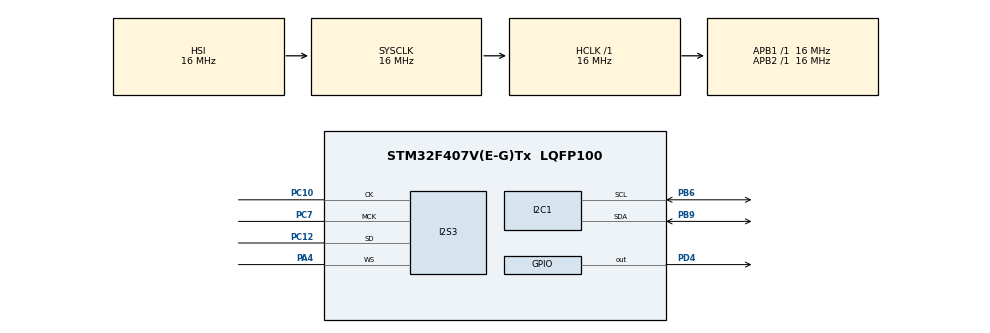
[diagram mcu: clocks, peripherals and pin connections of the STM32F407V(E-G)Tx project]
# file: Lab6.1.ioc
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Dma.Request0=SPI3_TX
Dma.SPI3_TX.0.Direction=DMA_MEMORY_TO_PERIPH
Dma.SPI3_TX.0.FIFOMode=DMA_FIFOMODE_ENABLE
Dma.SPI3_TX.0.FIFOThreshold=DMA_FIFO_THRESHOLD_FULL
Dma.SPI3_TX.0.Instance=DMA1_Stream5
Dma.SPI3_TX.0.MemBurst=DMA_MBURST_SINGLE
Dma.SPI3_TX.0.MemDataAlignment=DMA_MDATAALIGN_HALFWORD
Dma.SPI3_TX.0.MemInc=DMA_MINC_ENABLE
Dma.SPI3_TX.0.Mode=DMA_CIRCULAR
Dma.SPI3_TX.0.PeriphBurst=DMA_PBURST_SINGLE
Dma.SPI3_TX.0.PeriphDataAlignment=DMA_PDATAALIGN_HALFWORD
Dma.SPI3_TX.0.PeriphInc=DMA_PINC_DISABLE
Dma.SPI3_TX.0.Priority=DMA_PRIORITY_LOW
I2S3.AudioFreq=I2S_AUDIOFREQ_48K
I2S3.ErrorAudioFreq=-2.34 %
I2S3.FullDuplexMode=I2S_FULLDUPLEXMODE_DISABLE
I2S3.Instance=SPI$Index
I2S3.RealAudioFreq=46.875 KHz
I2S3.VirtualMode=I2S_MODE_MASTER
Mcu.Family=STM32F4
Mcu.Name=STM32F407V(E-G)Tx
Mcu.Package=LQFP100
NVIC.DMA1_Stream5_IRQn=true\:0\:0\:false\:false\:true\:false\:true\:true
NVIC.PriorityGroup=NVIC_PRIORITYGROUP_4
PA4.Mode=Half_Duplex_Master
PA4.Signal=I2S3_WS
PB6.Mode=I2C
PB6.Signal=I2C1_SCL
PB9.Mode=I2C
PB9.Signal=I2C1_SDA
PC10.Mode=Half_Duplex_Master
PC10.Signal=I2S3_CK
PC12.Mode=Half_Duplex_Master
PC12.Signal=I2S3_SD
PC7.Mode=Master_Clock_Activated
PC7.Signal=I2S3_MCK
PD4.Signal=GPIO_Output
ProjectManager.HeapSize=0x200
ProjectManager.StackSize=0x400
ProjectManager.TargetToolchain=STM32CubeIDE
RCC.AHBFreq_Value=16000000
RCC.APB1Freq_Value=16000000
RCC.APB2Freq_Value=16000000
RCC.CortexFreq_Value=16000000
RCC.HSE_VALUE=25000000
RCC.HSI_VALUE=16000000
RCC.LSE_VALUE=32768
RCC.SYSCLKFreq_VALUE=16000000
RCC.VCOOutputFreq_Value=192000000
board=custom

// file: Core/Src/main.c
/* USER CODE BEGIN Header */
/**
  ******************************************************************************
  * @file           : main.c
  * @brief          : Main program body
  ******************************************************************************
  * @attention
  *
  * Copyright (c) 2023 STMicroelectronics.
  * All rights reserved.
  *
  * This software is licensed under terms that can be found in the LICENSE file
  * in the root directory of this software component.
  * If no LICENSE file comes with this software, it is provided AS-IS.
  *
  ******************************************************************************
  */
/* USER CODE END Header */
#include "main.h"

/* USER CODE BEGIN PTD */

typedef enum
{
	A4, D4, D5, C5, E5, F5, Fcs5, G5, A5, B5,
	C6, D6, E6, F6, G6, A6,
	MAX_VALUE
} soundToneType;

/* USER CODE END PTD */

/* USER CODE BEGIN PD */

#define CS43L22_I2C_ADDRESS		0x94
#define I2C_TIMEOUT				10

/* USER CODE END PD */

I2C_HandleTypeDef hi2c1;

I2S_HandleTypeDef hi2s3;
DMA_HandleTypeDef hdma_spi3_tx;

/* USER CODE BEGIN PV */

int16_t dataI2S[100] = {0};

/* USER CODE END PV */

void SystemClock_Config(void);
static void MX_GPIO_Init(void);
static void MX_DMA_Init(void);
static void MX_I2C1_Init(void);
static void MX_I2S3_Init(void);

/* USER CODE BEGIN 0 */

void CS43L22_Init(void)
{
	// Enable chip
	HAL_GPIO_WritePin(GPIOD, GPIO_PIN_4, GPIO_PIN_SET);

	//
	// Initialization
	//
	uint8_t TxBuffer[2];

	TxBuffer[0] = 0x0D;
	TxBuffer[1] = 0x01;
	HAL_I2C_Master_Transmit(&hi2c1, CS43L22_I2C_ADDRESS, (uint8_t*) &TxBuffer, 2, I2C_TIMEOUT);

	TxBuffer[0] = 0x00;
	TxBuffer[1] = 0x99;
	HAL_I2C_Master_Transmit(&hi2c1, CS43L22_I2C_ADDRESS, (uint8_t*) &TxBuffer, 2, I2C_TIMEOUT);

	TxBuffer[0] = 0x47;
	TxBuffer[1] = 0x80;
	HAL_I2C_Master_Transmit(&hi2c1, CS43L22_I2C_ADDRESS, (uint8_t*) &TxBuffer, 2, I2C_TIMEOUT);

	TxBuffer[0] = 0x32;
	TxBuffer[1] = 0xFF;
	HAL_I2C_Master_Transmit(&hi2c1, CS43L22_I2C_ADDRESS, (uint8_t*) &TxBuffer, 2, I2C_TIMEOUT);

	TxBuffer[0] = 0x32;
	TxBuffer[1] = 0x7F;
	HAL_I2C_Master_Transmit(&hi2c1, CS43L22_I2C_ADDRESS, (uint8_t*) &TxBuffer, 2, I2C_TIMEOUT);

	TxBuffer[0] = 0x00;
	TxBuffer[1] = 0x00;
	HAL_I2C_Master_Transmit(&hi2c1, CS43L22_I2C_ADDRESS, (uint8_t*) &TxBuffer, 2, I2C_TIMEOUT);

	TxBuffer[0] = 0x04;
	TxBuffer[1] = 0xAF;
	HAL_I2C_Master_Transmit(&hi2c1, CS43L22_I2C_ADDRESS, (uint8_t*) &TxBuffer, 2, I2C_TIMEOUT);

	TxBuffer[0] = 0x0D;
	TxBuffer[1] = 0x70;
	HAL_I2C_Master_Transmit(&hi2c1, CS43L22_I2C_ADDRESS, (uint8_t*) &TxBuffer, 2, I2C_TIMEOUT);

	TxBuffer[0] = 0x05;
	TxBuffer[1] = 0x81;
	HAL_I2C_Master_Transmit(&hi2c1, CS43L22_I2C_ADDRESS, (uint8_t*) &TxBuffer, 2, I2C_TIMEOUT);

	TxBuffer[0] = 0x06;
	TxBuffer[1] = 0x07;
	HAL_I2C_Master_Transmit(&hi2c1, CS43L22_I2C_ADDRESS, (uint8_t*) &TxBuffer, 2, I2C_TIMEOUT);

	TxBuffer[0] = 0x0A;
	TxBuffer[1] = 0x00;
	HAL_I2C_Master_Transmit(&hi2c1, CS43L22_I2C_ADDRESS, (uint8_t*) &TxBuffer, 2, I2C_TIMEOUT);

	TxBuffer[0] = 0x27;
	TxBuffer[1] = 0x00;
	HAL_I2C_Master_Transmit(&hi2c1, CS43L22_I2C_ADDRESS, (uint8_t*) &TxBuffer, 2, I2C_TIMEOUT);

	TxBuffer[0] = 0x1A;
	TxBuffer[1] = 0x0A;
	HAL_I2C_Master_Transmit(&hi2c1, CS43L22_I2C_ADDRESS, (uint8_t*) &TxBuffer, 2, I2C_TIMEOUT);

	TxBuffer[0] = 0x1B;
	TxBuffer[1] = 0x0A;
	HAL_I2C_Master_Transmit(&hi2c1, CS43L22_I2C_ADDRESS, (uint8_t*) &TxBuffer, 2, I2C_TIMEOUT);

	TxBuffer[0] = 0x1F;
	TxBuffer[1] = 0x0F;
	HAL_I2C_Master_Transmit(&hi2c1, CS43L22_I2C_ADDRESS, (uint8_t*) &TxBuffer, 2, I2C_TIMEOUT);

	TxBuffer[0] = 0x02;
	TxBuffer[1] = 0x9E;
	HAL_I2C_Master_Transmit(&hi2c1, CS43L22_I2C_ADDRESS, (uint8_t*) &TxBuffer, 2, I2C_TIMEOUT);
}

void CS43L22_Beep(soundToneType pitch, uint32_t duration_ms)
{
	uint8_t TxBuffer[2];

	// Set volume and off time
	TxBuffer[0] = 0x1D;		// Register address
	TxBuffer[1] = 0x00;		// Value (volume and off time)
	HAL_I2C_Master_Transmit(&hi2c1, CS43L22_I2C_ADDRESS, (uint8_t*) &TxBuffer, 2, I2C_TIMEOUT);

	// Set sound frequency

	TxBuffer[0] = 0x1C;		// Register address
	switch (pitch)
	{

	        case A4:
				TxBuffer[1] = 0x11;		// Value (frequency and on time)
				break;
			case D4:
				TxBuffer[1] = 0x22;		// Value (frequency and on time)
				break;
			case C5:
				TxBuffer[1] = 0x33;		// Value (frequency and on time)
				break;
			case D5:
				TxBuffer[1] = 0x42;		// Value (frequency and on time)
				break;
			case E5:
				TxBuffer[1] = 0x45;		// Value (frequency and on time)
				break;
			case F5:
				TxBuffer[1] = 0x55;		// Value (frequency and on time)
				break;
			case Fcs5:
				TxBuffer[1] = 0x58;		// Value (frequency and on time)
				break;
			case G5:
				TxBuffer[1] = 0x65;		// Value (frequency and on time)
				break;
			case A5:
				TxBuffer[1] = 0x73;		// Value (frequency and on time)
				break;
			case B5:
				TxBuffer[1] = 0x81;		// Value (frequency and on time)
				break;
			case C6:
				TxBuffer[1] = 0x93;		// Value (frequency and on time)
				break;
			case D6:
				TxBuffer[1] = 0x99;		// Value (frequency and on time)
				break;
			case E6:
				TxBuffer[1] = 0xAA;		// Value (frequency and on time)
				break;
			case F6:
				TxBuffer[1] = 0xBB;		// Value (frequency and on time)
				break;
			case G6:
				TxBuffer[1] = 0xCC;		// Value (frequency and on time)
				break;
			case A6:
				TxBuffer[1] = 0xDD;		// Value (frequency and on time)
				break;
		case MAX_VALUE:
		default:
			TxBuffer[1] = 0x00;		// Value (frequency and on time)
			break;
	}
	HAL_I2C_Master_Transmit(&hi2c1, CS43L22_I2C_ADDRESS, (uint8_t*) &TxBuffer, 2, I2C_TIMEOUT);

	// Enable continuous mode (SOUND STARTED)
	TxBuffer[0] = 0x1E;		// Register address
	TxBuffer[1] = 0xC0;		// Value (beep and tone configuration)
	HAL_I2C_Master_Transmit(&hi2c1, CS43L22_I2C_ADDRESS, (uint8_t*) &TxBuffer, 2, I2C_TIMEOUT);

	// Playing...
	HAL_Delay(duration_ms);

	// Disable continuous mode (SOUND STOPED)
	TxBuffer[0] = 0x1E;		// Register address
	TxBuffer[1] = 0x00;		// Value (beep and tone configuration)
	HAL_I2C_Master_Transmit(&hi2c1, CS43L22_I2C_ADDRESS, (uint8_t*) &TxBuffer, 2, I2C_TIMEOUT);
}

/* USER CODE END 0 */

int main(void)
{

  /* MCU Configuration--------------------------------------------------------*/

  /* Reset of all peripherals, Initializes the Flash interface and the Systick. */
  HAL_Init();

  /* Configure the system clock */
  SystemClock_Config();

  /* Initialize all configured peripherals */
  MX_GPIO_Init();
  MX_DMA_Init();
  MX_I2C1_Init();
  MX_I2S3_Init();
  /* USER CODE BEGIN 2 */

  // Init DAC
  CS43L22_Init();

  // Transmit empty data
  HAL_I2S_Transmit_DMA(&hi2s3, (uint16_t *)dataI2S, 100);

  /* USER CODE END 2 */

  /* Infinite loop */
  /* USER CODE BEGIN WHILE */

  while (1)
  {

	CS43L22_Beep(A4, 200);
	CS43L22_Beep(C5, 200);
	CS43L22_Beep(D4, 200);
	CS43L22_Beep(G5, 400);
	CS43L22_Beep(Fcs5, 200);
	CS43L22_Beep(E5, 400);
	CS43L22_Beep(D5, 200);
	CS43L22_Beep(A5, 100);
	CS43L22_Beep(A6, 200);
	HAL_Delay(100);
	CS43L22_Beep(A4, 200);
	CS43L22_Beep(F6, 200);
	CS43L22_Beep(D4, 200);
	CS43L22_Beep(G6, 400);

	CS43L22_Beep(F5, 250);
	CS43L22_Beep(B5, 150);
	CS43L22_Beep(D4, 250);
	CS43L22_Beep(A5, 200);
	CS43L22_Beep(Fcs5, 200);
	CS43L22_Beep(E5, 200);
	CS43L22_Beep(D4, 400);
	CS43L22_Beep(A4, 200);
	CS43L22_Beep(E6, 400);
	CS43L22_Beep(C6, 200);
	CS43L22_Beep(G6, 100);
	CS43L22_Beep(C5, 200);

	HAL_Delay(50);

    /* USER CODE END WHILE */

  }
}

void SystemClock_Config(void)
{
  RCC_OscInitTypeDef RCC_OscInitStruct = {0};
  RCC_ClkInitTypeDef RCC_ClkInitStruct = {0};

  /** Macro to configure the PLL multiplication factor
  */
  __HAL_RCC_PLL_PLLM_CONFIG(16);

  /** Macro to configure the PLL clock source
  */
  __HAL_RCC_PLL_PLLSOURCE_CONFIG(RCC_PLLSOURCE_HSI);

  /** Configure the main internal regulator output voltage
  */
  __HAL_RCC_PWR_CLK_ENABLE();
  __HAL_PWR_VOLTAGESCALING_CONFIG(PWR_REGULATOR_VOLTAGE_SCALE1);

  /** Initializes the RCC Oscillators according to the specified parameters
  * in the RCC_OscInitTypeDef structure.
  */
  RCC_OscInitStruct.OscillatorType = RCC_OSCILLATORTYPE_HSI;
  RCC_OscInitStruct.HSIState = RCC_HSI_ON;
  RCC_OscInitStruct.HSICalibrationValue = RCC_HSICALIBRATION_DEFAULT;
  RCC_OscInitStruct.PLL.PLLState = RCC_PLL_NONE;
  RCC_OscInitStruct.PLL.PLLSource = RCC_PLLSOURCE_HSI;
  if (HAL_RCC_OscConfig(&RCC_OscInitStruct) != HAL_OK)
  {
    Error_Handler();
  }

  /** Initializes the CPU, AHB and APB buses clocks
  */
  RCC_ClkInitStruct.ClockType = RCC_CLOCKTYPE_HCLK|RCC_CLOCKTYPE_SYSCLK
                              |RCC_CLOCKTYPE_PCLK1|RCC_CLOCKTYPE_PCLK2;
  RCC_ClkInitStruct.SYSCLKSource = RCC_SYSCLKSOURCE_HSI;
  RCC_ClkInitStruct.AHBCLKDivider = RCC_SYSCLK_DIV1;
  RCC_ClkInitStruct.APB1CLKDivider = RCC_HCLK_DIV1;
  RCC_ClkInitStruct.APB2CLKDivider = RCC_HCLK_DIV1;

  if (HAL_RCC_ClockConfig(&RCC_ClkInitStruct, FLASH_LATENCY_0) != HAL_OK)
  {
    Error_Handler();
  }
}

static void MX_I2C1_Init(void)
{

  hi2c1.Instance = I2C1;
  hi2c1.Init.ClockSpeed = 100000;
  hi2c1.Init.DutyCycle = I2C_DUTYCYCLE_2;
  hi2c1.Init.OwnAddress1 = 0;
  hi2c1.Init.AddressingMode = I2C_ADDRESSINGMODE_7BIT;
  hi2c1.Init.DualAddressMode = I2C_DUALADDRESS_DISABLE;
  hi2c1.Init.OwnAddress2 = 0;
  hi2c1.Init.GeneralCallMode = I2C_GENERALCALL_DISABLE;
  hi2c1.Init.NoStretchMode = I2C_NOSTRETCH_DISABLE;
  if (HAL_I2C_Init(&hi2c1) != HAL_OK)
  {
    Error_Handler();
  }

}

static void MX_I2S3_Init(void)
{

  hi2s3.Instance = SPI3;
  hi2s3.Init.Mode = I2S_MODE_MASTER_TX;
  hi2s3.Init.Standard = I2S_STANDARD_PHILIPS;
  hi2s3.Init.DataFormat = I2S_DATAFORMAT_16B;
  hi2s3.Init.MCLKOutput = I2S_MCLKOUTPUT_ENABLE;
  hi2s3.Init.AudioFreq = I2S_AUDIOFREQ_48K;
  hi2s3.Init.CPOL = I2S_CPOL_LOW;
  hi2s3.Init.ClockSource = I2S_CLOCK_PLL;
  hi2s3.Init.FullDuplexMode = I2S_FULLDUPLEXMODE_DISABLE;
  if (HAL_I2S_Init(&hi2s3) != HAL_OK)
  {
    Error_Handler();
  }

}

static void MX_DMA_Init(void)
{

  /* DMA controller clock enable */
  __HAL_RCC_DMA1_CLK_ENABLE();

  /* DMA interrupt init */
  /* DMA1_Stream5_IRQn interrupt configuration */
  HAL_NVIC_SetPriority(DMA1_Stream5_IRQn, 0, 0);
  HAL_NVIC_EnableIRQ(DMA1_Stream5_IRQn);

}

static void MX_GPIO_Init(void)
{
  GPIO_InitTypeDef GPIO_InitStruct = {0};

  /* GPIO Ports Clock Enable */
  __HAL_RCC_GPIOA_CLK_ENABLE();
  __HAL_RCC_GPIOC_CLK_ENABLE();
  __HAL_RCC_GPIOD_CLK_ENABLE();
  __HAL_RCC_GPIOB_CLK_ENABLE();

  /*Configure GPIO pin Output Level */
  HAL_GPIO_WritePin(GPIOD, GPIO_PIN_4, GPIO_PIN_RESET);

  /*Configure GPIO pin : PD4 */
  GPIO_InitStruct.Pin = GPIO_PIN_4;
  GPIO_InitStruct.Mode = GPIO_MODE_OUTPUT_PP;
  GPIO_InitStruct.Pull = GPIO_NOPULL;
  GPIO_InitStruct.Speed = GPIO_SPEED_FREQ_LOW;
  HAL_GPIO_Init(GPIOD, &GPIO_InitStruct);

}

void Error_Handler(void)
{
  __disable_irq();
  while (1)
  {
  }
}
